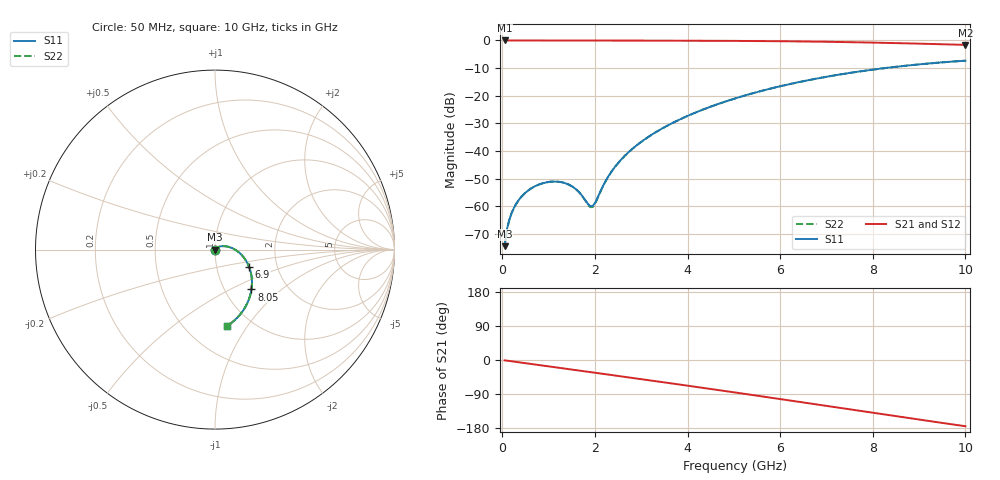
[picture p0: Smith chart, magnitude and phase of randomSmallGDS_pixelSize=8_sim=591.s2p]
! freq	dB(S11)	phase(S11)	dB(S12)	phase(S12)
!  dB(S21)	phase(S21)	dB(S22)	phase(S22)
!S-par simulation data
#  GHz  S  DB  R 50
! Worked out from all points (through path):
!   200 points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, 50 MHz to 10 GHz, reference 50 ohm
!   highest |S21| = 0.00 dB at 50 MHz (marker M1); lowest = -1.6 dB at 10 GHz (marker M2)
!   group delay of S21, straight-line fit = 48.8 ps
!   lowest |S11| = -74.4 dB at 50 MHz (marker M3), VSWR 1.00, Z = 50 - j0.019 ohm
!   |S11| at or under -10 dB: start of sweep to 8.254 GHz
!   |S22| runs from -74.4 to -7.3 dB; largest |S21 - S12| = 0
!   S11 on the Smith chart (normalised r, x): 50 MHz: 1.00, -0.00; 6.9 GHz: 1.44, -0.29; 8.05 GHz: 1.33, -0.65; 10 GHz: 0.77, -0.81
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0.05  -74.36 -83.9  -0.00 -0.8  -0.00 -0.8  -74.36 -83.9
0.1  -68.41 -88.6  -0.00 -1.7  -0.00 -1.7  -68.41 -88.6
0.15  -64.92 -90.9  -0.00 -2.5  -0.00 -2.5  -64.92 -90.9
0.25  -60.59 -94.1  -0.00 -4.2  -0.00 -4.2  -60.59 -94.0
0.4  -56.75 -97.9  -0.01 -6.8  -0.01 -6.8  -56.75 -97.9
0.65  -53.21 -104.0  -0.01 -11.0  -0.01 -11.0  -53.21 -103.9
0.95  -51.28 -111.6  -0.02 -16.0  -0.02 -16.0  -51.28 -111.4
1.25  -51.15 -120.5  -0.02 -21.0  -0.02 -21.0  -51.16 -120.2
1.55  -53.23 -134.2  -0.03 -26.0  -0.03 -26.0  -53.26 -133.5
1.75  -56.72 -154.6  -0.03 -29.4  -0.03 -29.4  -56.82 -153.4
1.95  -59.86 143.0  -0.03 -32.8  -0.03 -32.8  -60.23 143.0
2.25  -50.25 76.1  -0.04 -37.8  -0.04 -37.8  -50.32 75.2
2.5  -44.32 61.8  -0.04 -42.0  -0.04 -42.0  -44.35 61.2
2.9  -37.92 49.3  -0.05 -48.8  -0.05 -48.8  -37.94 48.9
3.4  -32.31 38.0  -0.07 -57.4  -0.07 -57.4  -32.32 37.7
4.15  -26.21 23.3  -0.10 -70.3  -0.10 -70.3  -26.21 23.1
5.05  -20.84 6.7  -0.16 -86.1  -0.16 -86.1  -20.84 6.6
6.7  -14.06 -23.2  -0.41 -115.7  -0.41 -115.7  -14.06 -23.4
6.9  -13.43 -26.9  -0.45 -119.3  -0.45 -119.3  -13.43 -27.0
8.05  -10.43 -47.5  -0.79 -140.2  -0.79 -140.2  -10.43 -47.6
8.35  -9.80 -52.8  -0.89 -145.6  -0.89 -145.6  -9.81 -52.9
10  -7.31 -81.1  -1.59 -174.7  -1.59 -174.7  -7.31 -81.2
